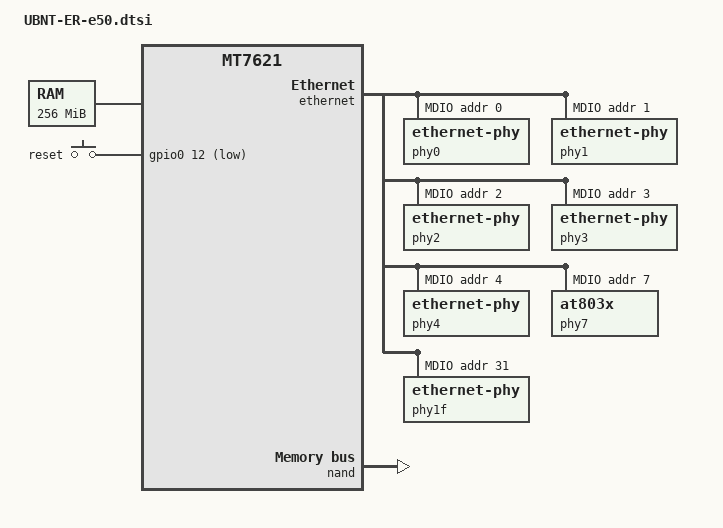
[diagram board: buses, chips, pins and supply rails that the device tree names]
#include "mt7621.dtsi"

#include <dt-bindings/gpio/gpio.h>
#include <dt-bindings/input/input.h>

/ {
	compatible = "ubiquiti,edgerouterx", "mediatek,mt7621-soc";

	memory@0 {
		device_type = "memory";
		reg = <0x0 0x10000000>;
	};

	chosen {
		bootargs = "console=ttyS0,57600";
	};

	gpio-keys-polled {
		compatible = "gpio-keys-polled";
		#address-cells = <1>;
		#size-cells = <0>;
		poll-interval = <20>;

		reset {
			label = "reset";
			gpios = <&gpio0 12 GPIO_ACTIVE_LOW>;
			linux,code = <KEY_RESTART>;
		};
	};
};

&ethernet {
	status = "okay";
	mtd-mac-address = <&factory 0x22>;
	pinctrl-names = "default";
	pinctrl-0 = <&rgmii1_pins &rgmii2_pins &mdio_pins>;
	mediatek,portmap = "lllllw";

	port@4 {
		status = "okay";
		phy-mode = "rgmii";
	};

	port@5 {
		status = "okay";
		phy-mode = "rgmii";
	};

	mdio-bus {
		status = "okay";

	phy0: ethernet-phy@0 {
	    reg = <0>;
	    phy-mode = "rgmii";
	};
	
	phy1: ethernet-phy@1 {
	    reg = <1>;
	    phy-mode = "rgmii";
	};
	
	phy2: ethernet-phy@2 {
	    reg = <2>;
	    phy-mode = "rgmii";
	    };
	
	phy3: ethernet-phy@3 {
	    reg = <3>;
	    phy-mode = "rgmii";
	};
	
	phy4: ethernet-phy@4 {
	    reg = <4>;
	    phy-mode = "rgmii";
	};
	
	phy7: ethernet-phy@7 {
	    compatible = "at803x";
	    reg = <0x7>;
	    phy-mode = "rgmii";
	};
	
	phy1f: ethernet-phy@1f {
	    reg = <0x1f>;
	    phy-mode = "rgmii";
	};
	};
};

&gsw {
	mediatek,port4 = "gmac";
};

&nand {
	status = "okay";

	partition@0 {
		label = "u-boot";
		reg = <0x0 0x80000>;
		read-only;
	};

	partition@80000 {
		label = "u-boot-env";
		reg = <0x80000 0x60000>;
		read-only;
	};

	factory: partition@e0000 {
		label = "factory";
		reg = <0xe0000 0x60000>;
	};

	partition@140000 {
		label = "kernel1";
		reg = <0x140000 0x300000>;
	};

	partition@440000 {
		label = "kernel2";
		reg = <0x440000 0x300000>;
	};

	partition@740000 {
		label = "ubi";
		reg = <0x740000 0xf7c0000>;
	};
};

&pinctrl {
	state_default: pinctrl0 {
		gpio {
			ralink,group = "uart2", "uart3", "pcie", "jtag";
			ralink,function = "gpio";
		};
	};
};

&spi0 {
	/* This board has 2Mb spi flash soldered in and visible
	   from manufacturer's firmware.
	   But this SoC shares spi and nand pins,
	   and current driver does't handle this sharing well */
	status = "disabled";

	m25p80@0 {
		#address-cells = <1>;
		#size-cells = <1>;
		compatible = "jedec,spi-nor";
		reg = <1>;
		spi-max-frequency = <10000000>;
		m25p,chunked-io = <32>;

		partition@0 {
			label = "spi";
			reg = <0x0 0x200000>;
			read-only;
		};
	};
};

&xhci {
	status = "disabled";
};
